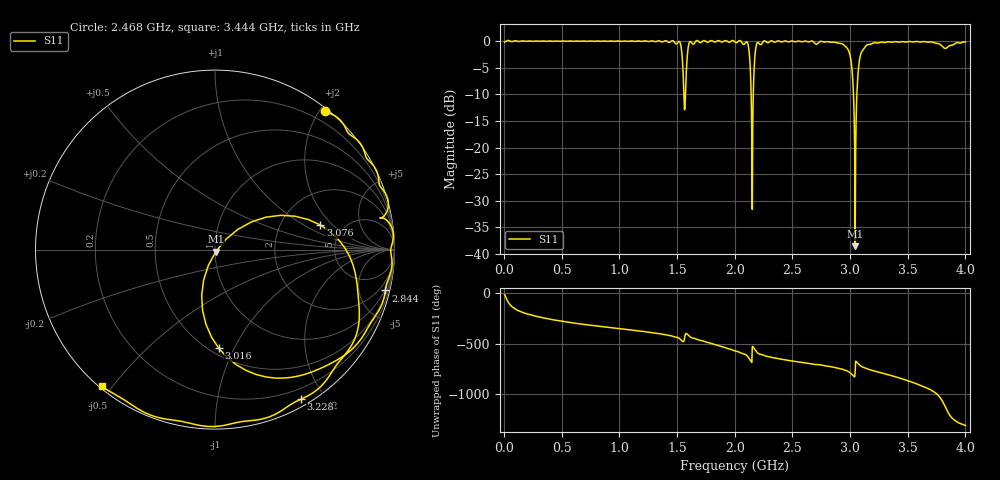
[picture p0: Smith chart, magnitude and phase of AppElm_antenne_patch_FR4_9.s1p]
! TOUCHSTONE file generated by CST MICROWAVE STUDIO
! Date and time: Tue Jun  7 19:07:21 2022
! Project name: AppElm_antenne_patch_FR4.cst
! Parameters = {L=45; W=67.275; e=0.035; h=1.6; lambda=0.190476; ls=120; w0=1.6; w1=0.533333; ws=120; y0=20; y1=23.8095}
! Header version: 2018
! Port assignment regex: !\s*Touchstone port\s*([0-9]+)\s*=\s*(CST MWS port|CST DS port)\s*([0-9]+|Zmin|Zmax)\s*\(\"(.*)\"\)(\s*mode\s*([0-9]+))?.*
! Touchstone port assignment:
! Touchstone port 1 = CST MWS port 1 ("")
# GHz S MA R 50
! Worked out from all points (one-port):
!   1000 points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, 4 MHz to 4 GHz, reference 50 ohm
!   lowest |S11| = -38.5 dB at 3.044 GHz (marker M1), VSWR 1.02, Z = 50.5 - j1.09 ohm
!   |S11| at or under -10 dB: 1.559 GHz to 1.572 GHz (13.37 MHz wide, 0.854 % of centre); 2.142 GHz to 2.161 GHz (18.75 MHz wide, 0.872 % of centre); 3.029 GHz to 3.059 GHz (29.76 MHz wide, 0.978 % of centre)
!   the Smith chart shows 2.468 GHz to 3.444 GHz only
!   S11 on the Smith chart (normalised r, x): 2.468 GHz: 0.04, +2.08; 2.844 GHz: 0.88, -8.38; 3.016 GHz: 0.55, -0.87; 3.076 GHz: 3.36, +1.45; 3.228 GHz: 0.08, -1.73; 3.444 GHz: 0.01, -0.47
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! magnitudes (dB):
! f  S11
! 4 MHz  -0.2
! 504 MHz  0.0
! 1.004 GHz  0.0
! 1.504 GHz  -0.3
! 1.528 GHz  -0.4
! 1.564 GHz  -12.9
! 1.616 GHz  -0.1
! 2.004 GHz  -0.2
! 2.108 GHz  -0.2
! 2.136 GHz  -5.9
! 2.152 GHz  -31.6
! 2.168 GHz  -5.2
! 2.184 GHz  -1.1
! 2.2 GHz  -0.2
! 2.468 GHz  -0.1
! 2.504 GHz  0.0
! 2.844 GHz  -0.2
! 3.004 GHz  -3.1
! 3.016 GHz  -5.2
! 3.028 GHz  -9.3
! 3.044 GHz  -38.5
! 3.06 GHz  -9.4
! 3.076 GHz  -4.4
! 3.116 GHz  -1.5
! 3.228 GHz  -0.3
! 3.444 GHz  -0.1
! 3.504 GHz  -0.1
! 4 GHz  -0.2
